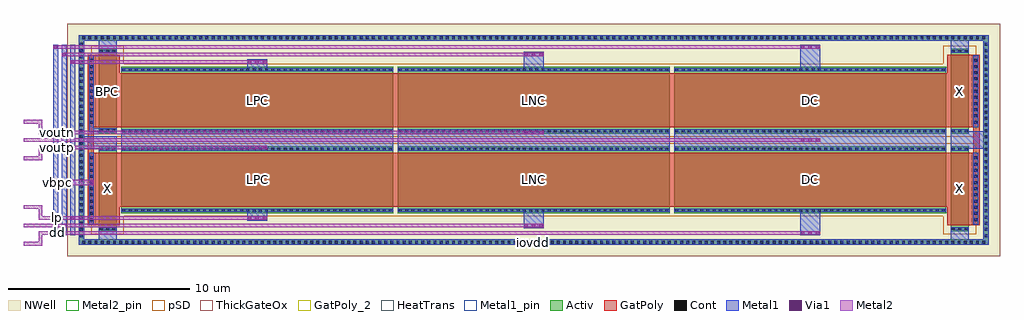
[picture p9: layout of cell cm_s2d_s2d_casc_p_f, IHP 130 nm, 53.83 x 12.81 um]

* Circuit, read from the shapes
.subckt cm_s2d_s2d_casc_p_f dd iovdd ln lp vbpc vcmfb voutn voutp
XM1 iovdd vbpc iovdd iovdd sg13_hv_pmos w=1u l=4u m=3
XM2 iovdd vbpc vbpc iovdd sg13_hv_pmos w=1u l=4u
XM3 voutp vbpc lp iovdd sg13_hv_pmos w=15u l=3u m=2
XM4 voutn vbpc ln iovdd sg13_hv_pmos w=15u l=3u m=2
XM5 vcmfb vbpc dd iovdd sg13_hv_pmos w=15u l=3u m=2
.ends

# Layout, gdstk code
from math import pi, radians
import gdstk
lib = gdstk.Library(unit=1e-6, precision=1e-09)
def R(c, l, rs):  # rectangles x0, y0, x1, y1
    for r in rs: c.add(gdstk.rectangle(r[:2], r[2:], *l))
def A(c, l, x, y, w, h, nx, ny, dx, dy):  # array of equal rectangles
    R(c, l, [(x+i*dx, y+j*dy, x+i*dx+w, y+j*dy+h) for i in range(nx) for j in range(ny)])
Activ = (1, 0)
GatPoly = (5, 0)
GatPoly_2 = (5, 2)
Cont = (6, 0)
Metal1 = (8, 0)
Metal1_pin = (8, 2)
Metal2 = (10, 0)
Metal2_pin = (10, 2)
pSD = (14, 0)
Via1 = (19, 0)
NWell = (31, 0)
ThickGateOx = (44, 0)
HeatTrans = (51, 0)

cm_s2d_pmoshv_w15_l3 = lib.new_cell('cm_s2d_pmosHV_w15_l3')
R(cm_s2d_pmoshv_w15_l3, Activ, [(0,0,0.3,0.3), (0,0,3.68,15), (3.38,0,3.68,0.3)])
R(cm_s2d_pmoshv_w15_l3, GatPoly, [(0.34,-0.18,3.34,15.18)])
R(cm_s2d_pmoshv_w15_l3, GatPoly_2, [(0.34,-0.18,3.34,15.18)])
A(cm_s2d_pmoshv_w15_l3, Cont, 0.07, 0.07, 0.16, 0.16, 1, 3, 0, 0.34)
A(cm_s2d_pmoshv_w15_l3, Cont, 3.45, 0.07, 0.16, 0.16, 1, 3, 0, 0.34)
A(cm_s2d_pmoshv_w15_l3, Cont, 0.07, 1.095, 0.16, 0.16, 1, 3, 0, 0.34)
A(cm_s2d_pmoshv_w15_l3, Cont, 3.45, 1.095, 0.16, 0.16, 1, 3, 0, 0.34)
A(cm_s2d_pmoshv_w15_l3, Cont, 0.07, 2.12, 0.16, 0.16, 1, 3, 0, 0.34)
A(cm_s2d_pmoshv_w15_l3, Cont, 3.45, 2.12, 0.16, 0.16, 1, 3, 0, 0.34)
A(cm_s2d_pmoshv_w15_l3, Cont, 0.07, 3.83, 0.16, 0.16, 1, 3, 0, 0.34)
A(cm_s2d_pmoshv_w15_l3, Cont, 3.45, 3.83, 0.16, 0.16, 1, 3, 0, 0.34)
A(cm_s2d_pmoshv_w15_l3, Cont, 0.07, 4.855, 0.16, 0.16, 1, 3, 0, 0.34)
A(cm_s2d_pmoshv_w15_l3, Cont, 3.45, 4.855, 0.16, 0.16, 1, 3, 0, 0.34)
A(cm_s2d_pmoshv_w15_l3, Cont, 0.07, 6.565, 0.16, 0.16, 1, 3, 0, 0.34)
A(cm_s2d_pmoshv_w15_l3, Cont, 3.45, 6.565, 0.16, 0.16, 1, 3, 0, 0.34)
A(cm_s2d_pmoshv_w15_l3, Cont, 0.07, 7.59, 0.16, 0.16, 1, 3, 0, 0.34)
A(cm_s2d_pmoshv_w15_l3, Cont, 3.45, 7.59, 0.16, 0.16, 1, 3, 0, 0.34)
A(cm_s2d_pmoshv_w15_l3, Cont, 0.07, 9.3, 0.16, 0.16, 1, 3, 0, 0.34)
A(cm_s2d_pmoshv_w15_l3, Cont, 3.45, 9.3, 0.16, 0.16, 1, 3, 0, 0.34)
A(cm_s2d_pmoshv_w15_l3, Cont, 0.07, 10.325, 0.16, 0.16, 1, 3, 0, 0.34)
A(cm_s2d_pmoshv_w15_l3, Cont, 3.45, 10.325, 0.16, 0.16, 1, 3, 0, 0.34)
A(cm_s2d_pmoshv_w15_l3, Cont, 0.07, 12.035, 0.16, 0.16, 1, 3, 0, 0.34)
A(cm_s2d_pmoshv_w15_l3, Cont, 3.45, 12.035, 0.16, 0.16, 1, 3, 0, 0.34)
A(cm_s2d_pmoshv_w15_l3, Cont, 0.07, 13.06, 0.16, 0.16, 1, 3, 0, 0.34)
A(cm_s2d_pmoshv_w15_l3, Cont, 3.45, 13.06, 0.16, 0.16, 1, 3, 0, 0.34)
R(cm_s2d_pmoshv_w15_l3, Cont, [(0.07,3.145,0.23,3.305), (3.45,3.145,3.61,3.305), (0.07,3.485,0.23,3.645), (3.45,3.485,3.61,3.645), (0.07,5.88,0.23,6.04), (3.45,5.88,3.61,6.04), (0.07,6.22,0.23,6.38), (3.45,6.22,3.61,6.38), (0.07,8.615,0.23,8.775), (3.45,8.615,3.61,8.775), (0.07,8.955,0.23,9.115), (3.45,8.955,3.61,9.115), (0.07,11.35,0.23,11.51), (3.45,11.35,3.61,11.51), (0.07,11.69,0.23,11.85), (3.45,11.69,3.61,11.85), (0.07,14.085,0.23,14.245), (3.45,14.085,3.61,14.245), (0.07,14.425,0.23,14.585), (3.45,14.425,3.61,14.585), (0.07,14.77,0.23,14.93), (3.45,14.77,3.61,14.93)])
R(cm_s2d_pmoshv_w15_l3, Metal1, [(0.07,0,0.23,15), (3.45,0,3.61,15)])
R(cm_s2d_pmoshv_w15_l3, Metal1_pin, [(0.07,0,0.23,15), (3.45,0,3.61,15)])
R(cm_s2d_pmoshv_w15_l3, pSD, [(-0.18,-0.4,3.86,15.4)])
R(cm_s2d_pmoshv_w15_l3, NWell, [(-0.62,-0.62,4.3,15.62)])
R(cm_s2d_pmoshv_w15_l3, ThickGateOx, [(-0.62,-0.62,4.3,15.62)])
R(cm_s2d_pmoshv_w15_l3, HeatTrans, [(0.34,-0.18,3.34,15.18)])
cm_s2d_pmoshv_w15_l3.add(gdstk.Label('pmosHV', (1.84,7.5), layer=63, texttype=0))
cm_s2d_pmoshv_w15_l3.add(gdstk.Label('pmos', (1.84,7.5), layer=51, texttype=0))

cm_s2d_pmoshv_w1_l4_1 = lib.new_cell('cm_s2d_pmosHV_w1_l4_1')
R(cm_s2d_pmoshv_w1_l4_1, Activ, [(0,0,0.3,0.3), (0,0,4.68,1), (4.38,0,4.68,0.3)])
R(cm_s2d_pmoshv_w1_l4_1, GatPoly, [(0.34,-0.18,4.34,1.18)])
R(cm_s2d_pmoshv_w1_l4_1, GatPoly_2, [(0.34,-0.18,4.34,1.18)])
A(cm_s2d_pmoshv_w1_l4_1, Cont, 0.07, 0.07, 0.16, 0.16, 1, 3, 0, 0.35)
A(cm_s2d_pmoshv_w1_l4_1, Cont, 4.45, 0.07, 0.16, 0.16, 1, 3, 0, 0.35)
R(cm_s2d_pmoshv_w1_l4_1, Metal1, [(0.07,0,0.23,1), (4.45,0,4.61,1)])
R(cm_s2d_pmoshv_w1_l4_1, Metal1_pin, [(0.07,0,0.23,1), (4.45,0,4.61,1)])
R(cm_s2d_pmoshv_w1_l4_1, pSD, [(-0.18,-0.4,4.86,1.4)])
R(cm_s2d_pmoshv_w1_l4_1, NWell, [(-0.62,-0.62,5.3,1.62)])
R(cm_s2d_pmoshv_w1_l4_1, ThickGateOx, [(-0.62,-0.62,5.3,1.62)])
R(cm_s2d_pmoshv_w1_l4_1, HeatTrans, [(0.34,-0.18,4.34,1.18)])
cm_s2d_pmoshv_w1_l4_1.add(gdstk.Label('pmosHV', (2.34,0.5), layer=63, texttype=0))
cm_s2d_pmoshv_w1_l4_1.add(gdstk.Label('pmos', (2.34,0.5), layer=51, texttype=0))

cm_s2d_s2d_casc_p_f = lib.new_cell('cm_s2d_s2d_casc_p_f')
R(cm_s2d_s2d_casc_p_f, Activ, [(1.41,0.62,51.61,0.92), (1.41,0.92,1.71,11.89), (51.31,0.92,51.61,11.89), (1.41,11.89,51.61,12.19)])
R(cm_s2d_s2d_casc_p_f, GatPoly, [(1.91,1.715,2.51,5.715), (50.51,1.715,51.11,5.715), (1.91,5.715,2.26,7.095), (50.76,5.715,51.11,7.095), (1.91,7.095,2.51,11.095), (50.51,7.095,51.11,11.095)])
A(cm_s2d_s2d_casc_p_f, Cont, 1.61, 0.69, 0.16, 0.16, 147, 2, 0.34, 11.27)
A(cm_s2d_s2d_casc_p_f, Cont, 1.48, 1.055, 0.16, 0.16, 1, 32, 0, 0.34)
A(cm_s2d_s2d_casc_p_f, Cont, 51.38, 1.055, 0.16, 0.16, 1, 32, 0, 0.34)
A(cm_s2d_s2d_casc_p_f, Cont, 2.05, 1.935, 0.16, 0.16, 1, 11, 0, 0.34)
A(cm_s2d_s2d_casc_p_f, Cont, 50.81, 1.935, 0.16, 0.16, 1, 11, 0, 0.34)
A(cm_s2d_s2d_casc_p_f, Cont, 2.05, 7.315, 0.16, 0.16, 1, 11, 0, 0.34)
A(cm_s2d_s2d_casc_p_f, Cont, 50.81, 7.315, 0.16, 0.16, 1, 11, 0, 0.34)
A(cm_s2d_s2d_casc_p_f, Metal1, 0, 1.14, 0.29, 10.53, 3, 1, 0.47, 0)
A(cm_s2d_s2d_casc_p_f, Metal1, 3.76, 5.825, 15, 1.16, 3, 1, 15.25, 0)
R(cm_s2d_s2d_casc_p_f, Metal1, [(1.41,0.62,51.61,0.92), (1.41,0.92,1.71,11.89), (2.51,0.92,3.51,1.605), (49.51,0.92,50.51,1.605), (51.31,0.92,51.61,11.89), (41.205,1.14,42.315,2.605), (25.955,1.55,27.065,2.605), (2,1.735,2.26,5.695), (50.76,1.735,51.02,5.695), (10.705,1.96,11.815,2.605), (2.51,5.825,3.51,6.605), (49.51,5.825,50.51,6.985), (1.71,5.915,3.51,6.605), (49.51,5.915,51.31,6.895), (2,6.825,3.51,7.045), (2,6.825,2.26,7.125), (2,7.115,2.26,11.075), (50.76,7.115,51.02,11.075), (10.705,10.205,11.815,10.85), (25.955,10.205,27.065,11.26), (41.205,10.205,42.315,11.67), (2.51,11.205,3.51,11.89), (49.51,11.205,50.51,11.89), (1.41,11.89,51.61,12.19)])
R(cm_s2d_s2d_casc_p_f, Metal1_pin, [(25.51,0.62,27.51,0.92)])
A(cm_s2d_s2d_casc_p_f, Metal2, 0, 1.185, 42.315, 0.2, 1, 3, 0, 5.12)
R(cm_s2d_s2d_casc_p_f, Metal2, [(-1.6,0.585,-0.6,0.785), (-0.8,0.585,-0.6,1.385), (-0.6,1.185,0,1.385), (0,1.185,0.145,1.385), (-1.6,1.595,0,1.795), (0,1.595,0.615,1.795), (0.47,1.595,27.065,1.795), (-0.8,2.005,-0.6,2.805), (-0.6,2.005,0,2.205), (0,2.005,1.085,2.205), (0.94,2.005,11.815,2.205), (-1.6,2.605,-0.6,2.805), (0,3.905,2.26,4.205), (-1.6,5.295,-0.6,5.495), (-0.8,5.295,-0.6,6.095), (-0.6,5.895,0,6.095), (0,5.895,11.815,6.095), (-1.6,6.305,0,6.505), (-0.8,6.715,-0.6,7.515), (-0.6,6.715,0,6.915), (0,6.715,27.065,6.915), (-1.6,7.315,-0.6,7.515), (0.94,10.605,11.815,10.805), (0.47,11.015,27.065,11.215)])
A(cm_s2d_s2d_casc_p_f, Metal2_pin, 0, 1.185, 0.5, 0.2, 1, 3, 0, 0.41)
A(cm_s2d_s2d_casc_p_f, Metal2_pin, 0, 5.895, 0.5, 0.2, 1, 3, 0, 0.41)
R(cm_s2d_s2d_casc_p_f, Metal2_pin, [(0,3.905,0.5,4.205)])
A(cm_s2d_s2d_casc_p_f, Via1, 41.255, 1.19, 0.19, 0.19, 3, 3, 0.41, 5.12)
A(cm_s2d_s2d_casc_p_f, Via1, 26.005, 1.6, 0.19, 0.19, 3, 2, 0.41, 5.12)
A(cm_s2d_s2d_casc_p_f, Via1, 10.755, 2.01, 0.19, 0.19, 3, 2, 0.41, 3.89)
A(cm_s2d_s2d_casc_p_f, Via1, 10.755, 10.61, 0.19, 0.19, 3, 1, 0.41, 0)
A(cm_s2d_s2d_casc_p_f, Via1, 26.005, 11.02, 0.19, 0.19, 3, 1, 0.41, 0)
R(cm_s2d_s2d_casc_p_f, Via1, [(0.05,1.19,0.24,1.38), (0.52,1.6,0.71,1.79), (0.99,2.01,1.18,2.2), (2.035,3.96,2.225,4.15), (0.99,10.61,1.18,10.8), (0.52,11.02,0.71,11.21), (0.05,11.43,0.24,11.62)])
R(cm_s2d_s2d_casc_p_f, NWell, [(0.79,0,52.23,12.81)])
R(cm_s2d_s2d_casc_p_f, ThickGateOx, [(0.79,0,52.23,12.81)])
cm_s2d_s2d_casc_p_f.add(gdstk.Reference(cm_s2d_pmoshv_w15_l3, (18.76,2.375), rotation=pi/2))
cm_s2d_s2d_casc_p_f.add(gdstk.Reference(cm_s2d_pmoshv_w15_l3, (34.01,2.375), rotation=pi/2))
cm_s2d_s2d_casc_p_f.add(gdstk.Reference(cm_s2d_pmoshv_w15_l3, (34.26,10.435), rotation=3*pi/2))
cm_s2d_s2d_casc_p_f.add(gdstk.Reference(cm_s2d_pmoshv_w15_l3, (34.26,2.375), rotation=pi/2, x_reflection=True))
cm_s2d_s2d_casc_p_f.add(gdstk.Reference(cm_s2d_pmoshv_w15_l3, (18.76,10.435), rotation=3*pi/2, x_reflection=True))
cm_s2d_s2d_casc_p_f.add(gdstk.Reference(cm_s2d_pmoshv_w15_l3, (34.01,10.435), rotation=3*pi/2, x_reflection=True))
cm_s2d_s2d_casc_p_f.add(gdstk.Reference(cm_s2d_pmoshv_w1_l4_1, (3.51,1.375), rotation=pi/2))
cm_s2d_s2d_casc_p_f.add(gdstk.Reference(cm_s2d_pmoshv_w1_l4_1, (49.51,11.435), rotation=3*pi/2))
cm_s2d_s2d_casc_p_f.add(gdstk.Reference(cm_s2d_pmoshv_w1_l4_1, (49.51,1.375), rotation=pi/2, x_reflection=True))
cm_s2d_s2d_casc_p_f.add(gdstk.Reference(cm_s2d_pmoshv_w1_l4_1, (3.51,11.435), rotation=3*pi/2, x_reflection=True))
cm_s2d_s2d_casc_p_f.add(gdstk.Label('X', (3.01,3.715), layer=63, texttype=0))
cm_s2d_s2d_casc_p_f.add(gdstk.Label('LPC', (11.26,4.215), layer=63, texttype=0))
cm_s2d_s2d_casc_p_f.add(gdstk.Label('LNC', (26.51,4.215), layer=63, texttype=0))
cm_s2d_s2d_casc_p_f.add(gdstk.Label('DC', (41.76,4.215), layer=63, texttype=0))
cm_s2d_s2d_casc_p_f.add(gdstk.Label('X', (50.01,3.715), layer=63, texttype=0))
cm_s2d_s2d_casc_p_f.add(gdstk.Label('BPC', (3.01,9.095), layer=63, texttype=0))
cm_s2d_s2d_casc_p_f.add(gdstk.Label('LPC', (11.26,8.595), layer=63, texttype=0))
cm_s2d_s2d_casc_p_f.add(gdstk.Label('LNC', (26.51,8.595), layer=63, texttype=0))
cm_s2d_s2d_casc_p_f.add(gdstk.Label('DC', (41.76,8.595), layer=63, texttype=0))
cm_s2d_s2d_casc_p_f.add(gdstk.Label('X', (50.01,9.095), layer=63, texttype=0))
cm_s2d_s2d_casc_p_f.add(gdstk.Label('iovdd', (26.51,0.77), layer=8, texttype=25))
cm_s2d_s2d_casc_p_f.add(gdstk.Label('voutp', (0.25,5.995), layer=10, texttype=25))
cm_s2d_s2d_casc_p_f.add(gdstk.Label('voutn', (0.25,6.815), layer=10, texttype=25))
cm_s2d_s2d_casc_p_f.add(gdstk.Label('vcmfb', (0.25,6.405), layer=10, texttype=25))
cm_s2d_s2d_casc_p_f.add(gdstk.Label('lp', (0.25,2.105), layer=10, texttype=25))
cm_s2d_s2d_casc_p_f.add(gdstk.Label('ln', (0.25,1.695), layer=10, texttype=25))
cm_s2d_s2d_casc_p_f.add(gdstk.Label('dd', (0.25,1.285), layer=10, texttype=25))
cm_s2d_s2d_casc_p_f.add(gdstk.Label('vbpc', (0.25,4.055), layer=10, texttype=25))

lib.write_gds('cm_s2d_s2d_casc_p_f.gds')
